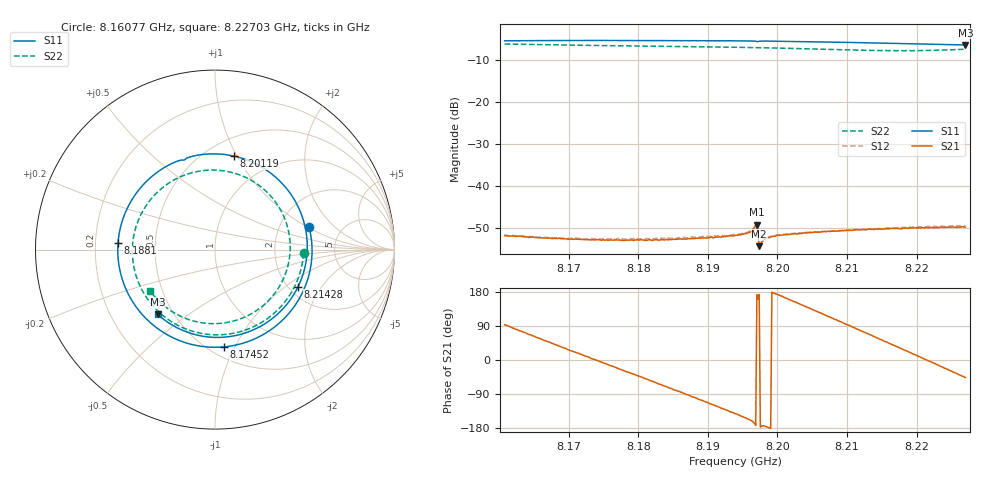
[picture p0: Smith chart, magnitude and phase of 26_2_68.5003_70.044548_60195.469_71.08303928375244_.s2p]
#  HZ  S  RI  R  50.00
! Rohde & Schwarz Vector Network Analyzer
! Rohde-Schwarz,ZNB20-2Port,1311601062101988,3.16
! Created: UTC 3/20/2024, 5:04:53 PM
! freq[Hz]  re:S11  im:S11  re:S21  im:S21  re:S12  im:S12  re:S22  im:S22
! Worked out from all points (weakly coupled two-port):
!   401 points, 8.16077 GHz to 8.22703 GHz, reference 50 ohm
!   highest |S21| = -49.30 dB at 8.19705 GHz (marker M1); lowest = -54.4 dB at 8.19738 GHz (marker M2)
!   lowest |S11| = -6.3 dB at 8.22703 GHz (marker M3), VSWR 2.86, Z = 20.5 - j19.3 ohm
!   |S11| at or under -10 dB: nowhere
!   |S22| runs from -7.7 to -6.1 dB; largest |S21 - S12| = 0.00024
!   S11 on the Smith chart (normalised r, x): 8.16077 GHz: 2.93, +1.04; 8.17452 GHz: 0.59, -0.91; 8.1881 GHz: 0.30, +0.03; 8.20119 GHz: 0.67, +0.97; 8.21428 GHz: 2.23, -1.25; 8.22703 GHz: 0.41, -0.39
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8.160774e9  0.5241 0.1266  -0.000133 0.00255  -0.00016 0.0026  0.4934 -0.0201
8.166074e9  0.4952 -0.2222  0.00137 0.00196  0.00136 0.00197  0.3758 -0.3078
8.171872e9  0.2256 -0.4954  0.00222 0.000565  0.00228 0.000589  0.0867 -0.469
8.174522e9  0.0518 -0.5419  0.00226 -0.000171  0.00232 -0.000158  -0.0646 -0.4691
8.178663e9  -0.2255 -0.4952  0.00189 -0.00123  0.00193 -0.00128  -0.278 -0.3771
8.18297e9  -0.4498 -0.3046  0.000992 -0.002  0.00101 -0.0021  -0.4242 -0.1884
8.188105e9  -0.5405 0.0349  -0.000355 -0.00232  -0.000447 -0.00239  -0.4494 0.0918
8.190921e9  -0.4915 0.2248  -0.00119 -0.00212  -0.00131 -0.00217  -0.3897 0.2358
8.193902e9  -0.3686 0.3929  -0.002 -0.00159  -0.00212 -0.0016  -0.2768 0.3568
8.196718e9  -0.198 0.4966  -0.0031 -0.000715  -0.00319 -0.000588  -0.1358 0.4262
8.197049e9  -0.1744 0.4983  -0.0034 0.00046  -0.00345 0.000558  -0.1176 0.4307
8.19738e9  -0.1616 0.5071  -0.00189 0.000231  -0.00192 0.000332  -0.0996 0.4348
8.197712e9  -0.1383 0.5164  -0.00211 -0.000207  -0.00216 -0.000148  -0.0811 0.4382
8.20119e9  0.1071 0.5207  -0.0025 0.000751  -0.00251 0.000849  0.1146 0.4239
8.205e9  0.344 0.3981  -0.0019 0.002  -0.00187 0.00211  0.3001 0.3096
8.209803e9  0.5065 0.1042  -0.000246 0.00292  -0.00019 0.00292  0.4174 0.0548
8.214276e9  0.4622 -0.2083  0.00157 0.00262  0.00164 0.0026  0.3564 -0.2091
8.216098e9  0.3898 -0.3175  0.00221 0.00213  0.00233 0.00213  0.2834 -0.2985
8.218914e9  0.229 -0.4401  0.00289 0.00112  0.00302 0.00104  0.1277 -0.3909
8.221564e9  0.0444 -0.4884  0.00316 -3.88e-05  0.00329 -0.000158  -0.0457 -0.4111
8.224214e9  -0.1448 -0.4636  0.00296 -0.00122  0.00298 -0.00143  -0.216 -0.3589
8.22703e9  -0.3192 -0.361  0.00222 -0.00234  0.00221 -0.00251  -0.3599 -0.2313
